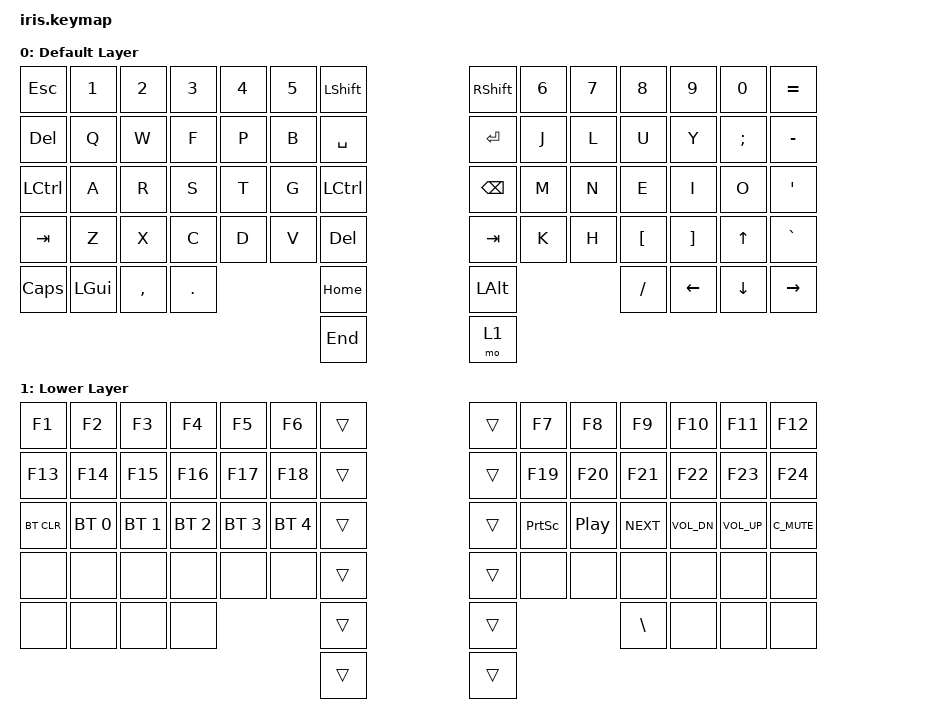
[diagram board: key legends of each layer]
/*
 * Copyright (c) 2020 The ZMK Contributors
 *
 * SPDX-License-Identifier: MIT
 */

#include <behaviors.dtsi>
#include <dt-bindings/zmk/keys.h>
#include <dt-bindings/zmk/bt.h>

/ {
    keymap {
        compatible = "zmk,keymap";

        default_layer {
            display-name = "Default Layer";
// -----------------------------------------------------------------------------------------
// |  ESC |  1  |  2  |  3  |  4  |  5  | SHFT |                   | RSHFT |  6  |  7   |  8  |  9  |  0  | +=   |
// |  DEL |  Q  |  W  |  F  |  P  |  B  | SPC  |                   | ENTR  |  J  |  L   |  U  |  Y  |  :; |  -_  | 
// | CTRL |  A  |  R  |  S  |  T  |  G  | CTRL |                   | BKSP  |  M  |  N   |  E  |  I  |  O  |  '"  | 
// |  TAB |  Z  |  X  |  C  |  D  |  V  | DEL  |                   | TAB   |  K  |  H   |  [{ | }]  |  UP |  `~  | 
// | CAPS | GUI |  <, |  >. |-----|-----| HOME |                   | ALT   |-----|------|  ?/ | LFT | DWN | RGT  | 
// |------|-----|-----|-----|-----|-----| END  |                   | mo1   |-----|------|-----|-----|-----|------| 

                        bindings = <
   &kp ESC   &kp N1   &kp N2    &kp N3     &kp N4 &kp N5 &kp LSHFT                     &kp RSHFT &kp N6 &kp N7  &kp N8     &kp N9   &kp N0    &kp EQUAL 
   &kp DEL   &kp Q    &kp W     &kp F      &kp P  &kp B  &kp SPACE                     &kp RET   &kp J  &kp L   &kp U      &kp Y    &kp SEMI  &kp MINUS 
   &kp LCTRL &kp A    &kp R     &kp S      &kp T  &kp G  &kp LCTRL                     &kp BSPC  &kp M  &kp N   &kp E      &kp I    &kp O     &kp SQT   
   &kp TAB   &kp Z    &kp X     &kp C      &kp D  &kp V  &kp DEL                       &kp TAB   &kp K  &kp H   &kp LBKT   &kp RBKT &kp UP    &kp GRAVE 
   &kp CAPS  &kp LGUI &kp COMMA &kp PERIOD               &kp HOME                      &kp LALT                 &kp FSLH   &kp LEFT &kp DOWN  &kp RIGHT 
                                                         &kp END                       &mo 1                                                   
                        >;
                };
                lower_layer {
                        display-name = "Lower Layer";
// -----------------------------------------------------------------------------------------
// |  F1  |  F2 |  F3 |  F4 |  F5 |  F6 | TRANSP |        | TRANSP |  F7 |  F8 |  F9 | F10 | F11 |  F12 |
// |  F13 | F14 | F15 | F16 | F17 | F18 | TRANSP |        | TRANSP | F19 | F20 | F21 | F22 | F23 |  F24 |
// | BTCLR| BT1 | BT2 | BT3 | BT4 | BT5 | TRANSP |        | TRANSP |PSCRN|PLYPS|NEXT |VOLDN|VOLUP|CMUTE |
// |------|-----|-----|-----|-----|-----| TRANSP |        | TRANSP |-----|-----|-----|-----|-----|------|
// |------|-----|-----|-----|-----|-----| TRANSP |        | TRANSP |-----|-----|  \| |-----|-----|------|
// |------|-----|-----|-----|-----|-----| TRANSP |        | TRANSP |-----|-----|-----|-----|-----|------|
                        bindings = <
   &kp F1     &kp F2       &kp F3       &kp F4       &kp F5       &kp F6        &trans         &trans &kp F7    &kp F8   &kp F9   &kp F10      &kp F11      &kp F12 
   &kp F13    &kp F14      &kp F15      &kp F16      &kp F17      &kp F18       &trans         &trans &kp F19   &kp F20  &kp F21  &kp F22      &kp F23      &kp F24 
   &bt BT_CLR &bt BT_SEL 0 &bt BT_SEL 1 &bt BT_SEL 2 &bt BT_SEL 3 &bt BT_SEL 4  &trans         &trans &kp PSCRN &kp C_PP &kp C_NEXT  &kp K_VOL_DN &kp K_VOL_UP &C_MUTE 
   &none      &none        &none        &none        &none        &none         &trans         &trans &none     &none    &none    &none        &none        &none   
   &none      &none        &none        &none                                   &trans         &trans                   &kp BSLH &none        &none        &none   
                                                                                &trans         &trans                                                              
                        >;
                };
        };
};
